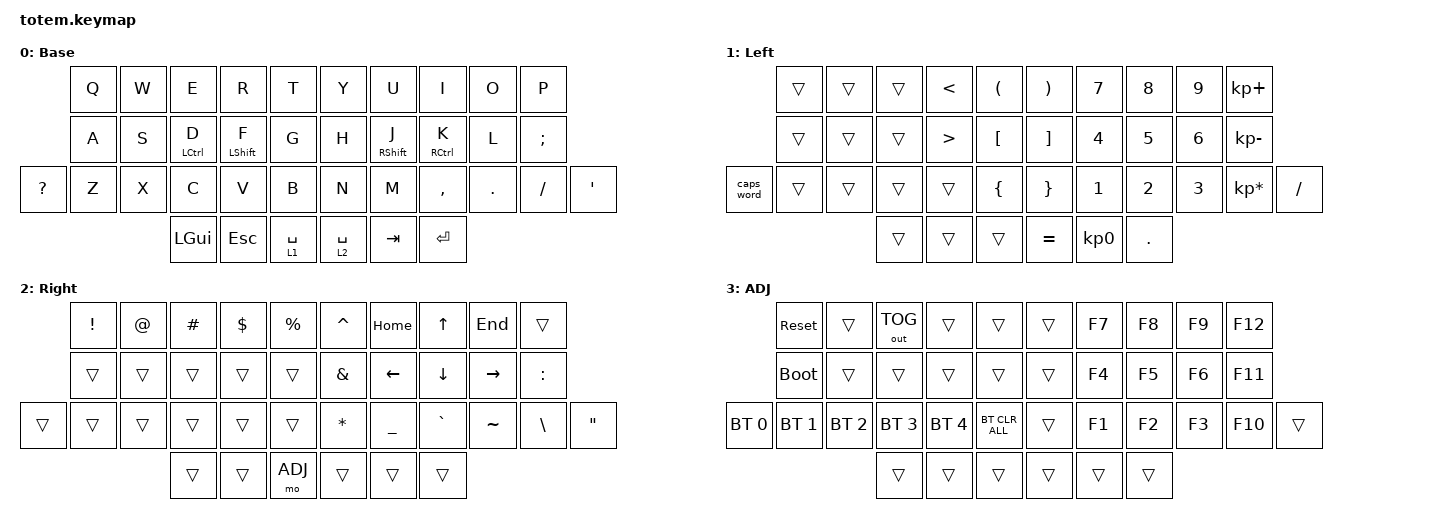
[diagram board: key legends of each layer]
//
//                                                        ▀▀▀▀▀     ▀▀▀▀▀          ▀▀█▀▀
//                                                        ▄▀▀▀▄  ▄  ▄▀▀▀▄  ▄  ▄▀▀▀▄  █  ▄▀▀▀▄
//                                                        █   █  █  █   █  █  █   █  █  █   █
//                                                         ▀▀▀   █   ▀▀▀   █   ▀▀▀   ▀   ▀▀▀
//                                                               █      ▄▄▄█▄▄▄    █   █  
//                                                               ▀      █  █  █     █▄█
//                                                             ▀▀▀▀▀    █  █  █      ▀
//                                                                      ▀  ▀  ▀
//
// ▄▄▄▄▄▄▄▄▄▄▄▄▄▄▄▄▄▄▄▄▄▄▄▄▄▄▄▄▄▄▄▄▄▄▄▄▄▄▄▄▄▄▄▄▄▄▄▄▄▄▄▄▄▄▄▄▄▄▄▄▄▄▄▄▄▄▄▄▄▄▄▄▄▄▄▄▄▄▄▄▄▄▄▄▄▄▄▄▄▄▄▄▄▄▄▄▄▄▄▄▄▄▄▄▄▄▄▄▄▄▄▄▄▄▄▄▄▄▄▄▄▄▄▄▄▄▄▄▄▄▄▄▄▄▄▄▄▄▄▄▄▄▄▄▄▄▄▄▄

#include <behaviors.dtsi>
#include <dt-bindings/zmk/bt.h>
#include <dt-bindings/zmk/keys.h>
#include <dt-bindings/zmk/outputs.h>

#define BASE 0
#define NAV  1
#define SYM  2
#define ADJ  3

&mt {
    quick-tap-ms = <100>;
    global-quick-tap;
    flavor = "tap-preferred";
    tapping-term-ms = <170>;
};

/ {
    combos {
        compatible = "zmk,combos";

        combo_esc {
            timeout-ms = <50>;
            key-positions = <0 1>;
            bindings = <&kp ESC>;
        };
    };

    macros {
        gif: gif {
            label = "giphy";
            compatible = "zmk,behavior-macro";
            #binding-cells = <0>;
            bindings =
                <&macro_press>,
                <&kp LSHFT>,
                <&macro_tap>,
                <&kp N2>,
                <&macro_release>,
                <&kp LSHFT>,
                <&macro_tap>,
                <&kp G &kp I &kp F>;
        };
    };

    keymap {
        compatible = "zmk,keymap";

        // ▄▄▄▄▄▄▄▄▄▄▄▄▄▄▄▄▄▄▄▄▄▄▄▄▄▄▄▄▄▄▄▄▄▄▄▄▄▄▄▄▄▄▄▄▄▄▄▄▄▄▄▄▄▄▄▄▄▄▄▄▄▄▄▄▄▄▄▄▄▄▄▄▄▄▄▄▄▄▄▄▄▄▄▄▄▄▄▄▄▄▄▄▄▄▄▄▄▄▄▄▄▄▄▄▄▄▄▄▄▄▄▄▄▄▄▄▄▄▄▄▄▄▄▄▄▄▄▄▄▄▄▄▄▄▄▄▄▄▄▄▄▄▄▄▄▄▄▄▄

        Layer_Base {
            // ┏━━━━━━━━━━━━━━━━━━━━━━━━━━━━━━━━━━━━━━━┓

            label = "Base";

            // ┗━━━━━━━━━━━━━━━━━━━━━━━━━━━━━━━━━━━━━━━┛
            //             ┏━━━━━━━━━━━┳━━━━━━━━━━━┳━━━━━━━━━━━┳━━━━━━━━━━━┳━━━━━━━━━━━┓   ┏━━━━━━━━━━━┳━━━━━━━━━━━┳━━━━━━━━━━━┳━━━━━━━━━━━┳━━━━━━━━━━━┓
            //             ┃     Q     ┃     W     ┃     F     ┃     P     ┃     G     ┃   ┃     J     ┃     L     ┃     U     ┃     Y     ┃     ;     ┃
            //             ┣━━━━━━━━━━━╋━━━━━━━━━━━╋━━━━━━━━━━━╋━━━━━━━━━━━╋━━━━━━━━━━━┫   ┣━━━━━━━━━━━╋━━━━━━━━━━━╋━━━━━━━━━━━╋━━━━━━━━━━━╋━━━━━━━━━━━┫
            //             ┃     A     ┃     R     ┃     S     ┃     T     ┃     D     ┃   ┃     H     ┃     N     ┃     E     ┃     I     ┃     O     ┃
            // ┏━━━━━━━━━━━╋━━━━━━━━━━━╋━━━━━━━━━━━╋━━━━━━━━━━━╋━━━━━━━━━━━╋━━━━━━━━━━━┫   ┣━━━━━━━━━━━╋━━━━━━━━━━━╋━━━━━━━━━━━╋━━━━━━━━━━━╋━━━━━━━━━━━╋━━━━━━━━━━━┓
            // ┃           ┃     Z     ┃     X     ┃     C     ┃     V     ┃     B     ┃   ┃     K     ┃     M     ┃     ,     ┃     .     ┃     /     ┃           ┃
            // ┗━━━━━━━━━━━┻━━━━━━━━━━━┻━━━━━━━━━━━╋━━━━━━━━━━━╋━━━━━━━━━━━╋━━━━━━━━━━━┫   ┣━━━━━━━━━━━╋━━━━━━━━━━━╋━━━━━━━━━━━╋━━━━━━━━━━━┻━━━━━━━━━━━┻━━━━━━━━━━━┛
            //                                     ┃           ┃    TAB    ┃    SPC    ┃   ┃   ENTER   ┃   BSPC    ┃           ┃
            //                                     ┗━━━━━━━━━━━┻━━━━━━━━━━━┻━━━━━━━━━━━┛   ┗━━━━━━━━━━━┻━━━━━━━━━━━┻━━━━━━━━━━━┛

            bindings = <
              &kp Q  &kp W  &kp E         &kp R        &kp T          &kp Y        &kp U        &kp I        &kp O    &kp P
              &kp A  &kp S  &mt LCTRL D   &mt LSHFT F  &kp G          &kp H        &mt RSHFT J  &mt RCTRL K  &kp L    &kp SEMICOLON
&kp QUESTION  &kp Z  &kp X  &kp C         &kp V        &kp B          &kp N        &kp M        &kp COMMA    &kp DOT  &kp SLASH      &kp SINGLE_QUOTE
                            &kp LEFT_GUI  &kp ESCAPE   &lt 1 SPACE    &lt 2 SPACE  &kp TAB      &kp ENTER
            >;
        };

        // ▄▄▄▄▄▄▄▄▄▄▄▄▄▄▄▄▄▄▄▄▄▄▄▄▄▄▄▄▄▄▄▄▄▄▄▄▄▄▄▄▄▄▄▄▄▄▄▄▄▄▄▄▄▄▄▄▄▄▄▄▄▄▄▄▄▄▄▄▄▄▄▄▄▄▄▄▄▄▄▄▄▄▄▄▄▄▄▄▄▄▄▄▄▄▄▄▄▄▄▄▄▄▄▄▄▄▄▄▄▄▄▄▄▄▄▄▄▄▄▄▄▄▄▄▄▄▄▄▄▄▄▄▄▄▄▄▄▄▄▄▄▄▄▄▄▄▄▄▄

        layer_left {
            // ┏━━━━━━━━━━━━━━━━━━━━━━━━━━━━━━━━━━━━━━━┓

            label = "Left";

            // ┗━━━━━━━━━━━━━━━━━━━━━━━━━━━━━━━━━━━━━━━┛
            //             ┏━━━━━━━━━━━┳━━━━━━━━━━━┳━━━━━━━━━━━┳━━━━━━━━━━━┳━━━━━━━━━━━┓   ┏━━━━━━━━━━━┳━━━━━━━━━━━┳━━━━━━━━━━━┳━━━━━━━━━━━┳━━━━━━━━━━━┓
            //             ┃           ┃           ┃     UP    ┃           ┃     {     ┃   ┃     }     ┃     7     ┃     8     ┃     9     ┃     +     ┃
            //             ┣━━━━━━━━━━━╋━━━━━━━━━━━╋━━━━━━━━━━━╋━━━━━━━━━━━╋━━━━━━━━━━━┫   ┣━━━━━━━━━━━╋━━━━━━━━━━━╋━━━━━━━━━━━╋━━━━━━━━━━━╋━━━━━━━━━━━┫
            //             ┃   SHIFT   ┃   LEFT    ┃    DOWN   ┃   RIGHT   ┃     [     ┃   ┃     ]     ┃     4     ┃     5     ┃     6     ┃     -     ┃
            // ┏━━━━━━━━━━━╋━━━━━━━━━━━╋━━━━━━━━━━━╋━━━━━━━━━━━╋━━━━━━━━━━━╋━━━━━━━━━━━┫   ┣━━━━━━━━━━━╋━━━━━━━━━━━╋━━━━━━━━━━━╋━━━━━━━━━━━╋━━━━━━━━━━━╋━━━━━━━━━━━┓
            // ┃           ┃           ┃   P UP    ┃  C LOCK   ┃  P DOWN   ┃     (     ┃   ┃     )     ┃     1     ┃     2     ┃     3     ┃     *     ┃           ┃
            // ┗━━━━━━━━━━━┻━━━━━━━━━━━┻━━━━━━━━━━━╋━━━━━━━━━━━╋━━━━━━━━━━━╋━━━━━━━━━━━┫   ┣━━━━━━━━━━━╋━━━━━━━━━━━╋━━━━━━━━━━━╋━━━━━━━━━━━┻━━━━━━━━━━━┻━━━━━━━━━━━┛
            //                                     ┃           ┃    TAB    ┃    SPC    ┃   ┃    DEL    ┃     0     ┃           ┃
            //                                     ┗━━━━━━━━━━━┻━━━━━━━━━━━┻━━━━━━━━━━━┛   ┗━━━━━━━━━━━┻━━━━━━━━━━━┻━━━━━━━━━━━┛

            bindings = <
            &trans  &trans  &trans  &kp LESS_THAN     &kp LEFT_PARENTHESIS    &kp RIGHT_PARENTHESIS  &kp N7        &kp N8        &kp N9        &kp KP_PLUS
            &trans  &trans  &trans  &kp GREATER_THAN  &kp LBKT                &kp RBKT               &kp NUMBER_4  &kp N5        &kp NUMBER_6  &kp KP_MINUS
&caps_word  &trans  &trans  &trans  &trans            &kp LEFT_BRACE          &kp RIGHT_BRACE        &kp NUMBER_1  &kp NUMBER_2  &kp NUMBER_3  &kp KP_MULTIPLY  &kp SLASH
                            &trans  &trans            &trans                  &kp EQUAL              &kp KP_N0     &kp PERIOD
            >;
        };

        // ▄▄▄▄▄▄▄▄▄▄▄▄▄▄▄▄▄▄▄▄▄▄▄▄▄▄▄▄▄▄▄▄▄▄▄▄▄▄▄▄▄▄▄▄▄▄▄▄▄▄▄▄▄▄▄▄▄▄▄▄▄▄▄▄▄▄▄▄▄▄▄▄▄▄▄▄▄▄▄▄▄▄▄▄▄▄▄▄▄▄▄▄▄▄▄▄▄▄▄▄▄▄▄▄▄▄▄▄▄▄▄▄▄▄▄▄▄▄▄▄▄▄▄▄▄▄▄▄▄▄▄▄▄▄▄▄▄▄▄▄▄▄▄▄▄▄▄▄▄

        Layer_Right {
            // ┏━━━━━━━━━━━━━━━━━━━━━━━━━━━━━━━━━━━━━━━┓

            label = "Right";

            // ┗━━━━━━━━━━━━━━━━━━━━━━━━━━━━━━━━━━━━━━━┛
            //             ┏━━━━━━━━━━━┳━━━━━━━━━━━┳━━━━━━━━━━━┳━━━━━━━━━━━┳━━━━━━━━━━━┓   ┏━━━━━━━━━━━┳━━━━━━━━━━━┳━━━━━━━━━━━┳━━━━━━━━━━━┳━━━━━━━━━━━┓
            //             ┃     !     ┃     @     ┃     #     ┃     $     ┃     %     ┃   ┃     ˆ     ┃     &     ┃     Ü     ┃     '     ┃     "     ┃
            //             ┣━━━━━━━━━━━╋━━━━━━━━━━━╋━━━━━━━━━━━╋━━━━━━━━━━━╋━━━━━━━━━━━┫   ┣━━━━━━━━━━━╋━━━━━━━━━━━╋━━━━━━━━━━━╋━━━━━━━━━━━╋━━━━━━━━━━━┫
            //             ┃     Ä     ┃           ┃    SZ     ┃           ┃           ┃   ┃   MUTE    ┃   YEN     ┃   EURO    ┃  POUND    ┃     Ö     ┃
            // ┏━━━━━━━━━━━╋━━━━━━━━━━━╋━━━━━━━━━━━╋━━━━━━━━━━━╋━━━━━━━━━━━╋━━━━━━━━━━━┫   ┣━━━━━━━━━━━╋━━━━━━━━━━━╋━━━━━━━━━━━╋━━━━━━━━━━━╋━━━━━━━━━━━╋━━━━━━━━━━━┓
            // ┃           ┃  EMAIL1   ┃  EMAIL2   ┃           ┃           ┃           ┃   ┃   VOL-    ┃   VOL+    ┃   LAST    ┃   NEXT    ┃     \     ┃           ┃
            // ┗━━━━━━━━━━━┻━━━━━━━━━━━┻━━━━━━━━━━━╋━━━━━━━━━━━╋━━━━━━━━━━━╋━━━━━━━━━━━┫   ┣━━━━━━━━━━━╋━━━━━━━━━━━╋━━━━━━━━━━━╋━━━━━━━━━━━┻━━━━━━━━━━━┻━━━━━━━━━━━┛
            //                                     ┃           ┃    GIF    ┃    ADJ    ┃   ┃           ┃           ┃           ┃
            //                                     ┗━━━━━━━━━━━┻━━━━━━━━━━━┻━━━━━━━━━━━┛   ┗━━━━━━━━━━━┻━━━━━━━━━━━┻━━━━━━━━━━━┛

            bindings = <
        &kp EXCL  &kp AT  &kp HASH  &kp DLLR  &kp PRCNT    &kp CARET      &kp HOME        &kp UP     &kp END    &trans
        &trans    &trans  &trans    &trans    &trans       &kp AMPERSAND  &kp LEFT        &kp DOWN   &kp RIGHT  &kp COLON
&trans  &trans    &trans  &trans    &trans    &trans       &kp ASTERISK   &kp UNDERSCORE  &kp GRAVE  &kp TILDE  &kp BSLH   &kp DOUBLE_QUOTES
                          &trans    &trans    &mo ADJ      &trans         &trans          &trans
            >;
        };

        // ▄▄▄▄▄▄▄▄▄▄▄▄▄▄▄▄▄▄▄▄▄▄▄▄▄▄▄▄▄▄▄▄▄▄▄▄▄▄▄▄▄▄▄▄▄▄▄▄▄▄▄▄▄▄▄▄▄▄▄▄▄▄▄▄▄▄▄▄▄▄▄▄▄▄▄▄▄▄▄▄▄▄▄▄▄▄▄▄▄▄▄▄▄▄▄▄▄▄▄▄▄▄▄▄▄▄▄▄▄▄▄▄▄▄▄▄▄▄▄▄▄▄▄▄▄▄▄▄▄▄▄▄▄▄▄▄▄▄▄▄▄▄▄▄▄▄▄▄▄

        adjust_layer {
            // ┏━━━━━━━━━━━━━━━━━━━━━━━━━━━━━━━━━━━━━━━┓

            label = "ADJ";

            // ┗━━━━━━━━━━━━━━━━━━━━━━━━━━━━━━━━━━━━━━━┛
            //             ┏━━━━━━━━━━━┳━━━━━━━━━━━┳━━━━━━━━━━━┳━━━━━━━━━━━┳━━━━━━━━━━━┓   ┏━━━━━━━━━━━┳━━━━━━━━━━━┳━━━━━━━━━━━┳━━━━━━━━━━━┳━━━━━━━━━━━┓
            //             ┃   RESET   ┃ BT CLEAR  ┃  OUT TOG  ┃           ┃           ┃   ┃           ┃    F7     ┃    F8     ┃    F9     ┃    F12    ┃
            //             ┣━━━━━━━━━━━╋━━━━━━━━━━━╋━━━━━━━━━━━╋━━━━━━━━━━━╋━━━━━━━━━━━┫   ┣━━━━━━━━━━━╋━━━━━━━━━━━╋━━━━━━━━━━━╋━━━━━━━━━━━╋━━━━━━━━━━━┫
            //             ┃ BOOTLOAD  ┃ BT NEXT   ┃           ┃           ┃           ┃   ┃           ┃    F4     ┃    F5     ┃    F6     ┃    F11    ┃
            // ┏━━━━━━━━━━━╋━━━━━━━━━━━╋━━━━━━━━━━━╋━━━━━━━━━━━╋━━━━━━━━━━━╋━━━━━━━━━━━┫   ┣━━━━━━━━━━━╋━━━━━━━━━━━╋━━━━━━━━━━━╋━━━━━━━━━━━╋━━━━━━━━━━━╋━━━━━━━━━━━┓
            // ┃           ┃           ┃ BT PREV   ┃           ┃           ┃           ┃   ┃           ┃    F1     ┃    F2     ┃    F3     ┃    F10    ┃           ┃
            // ┗━━━━━━━━━━━┻━━━━━━━━━━━┻━━━━━━━━━━━╋━━━━━━━━━━━╋━━━━━━━━━━━╋━━━━━━━━━━━┫   ┣━━━━━━━━━━━╋━━━━━━━━━━━╋━━━━━━━━━━━╋━━━━━━━━━━━┻━━━━━━━━━━━┻━━━━━━━━━━━┛
            //                                     ┃           ┃           ┃           ┃   ┃           ┃           ┃           ┃
            //                                     ┗━━━━━━━━━━━┻━━━━━━━━━━━┻━━━━━━━━━━━┛   ┗━━━━━━━━━━━┻━━━━━━━━━━━┻━━━━━━━━━━━┛

            bindings = <
              &sys_reset    &trans        &out OUT_TOG  &trans        &trans            &trans  &kp F7  &kp F8  &kp F9  &kp F12
              &bootloader   &trans        &trans        &trans        &trans            &trans  &kp F4  &kp F5  &kp F6  &kp F11
&bt BT_SEL 0  &bt BT_SEL 1  &bt BT_SEL 2  &bt BT_SEL 3  &bt BT_SEL 4  &bt BT_CLR_ALL    &trans  &kp F1  &kp F2  &kp F3  &kp F10  &trans
                                          &trans        &trans        &trans            &trans  &trans  &trans
            >;
        };
    };
};
